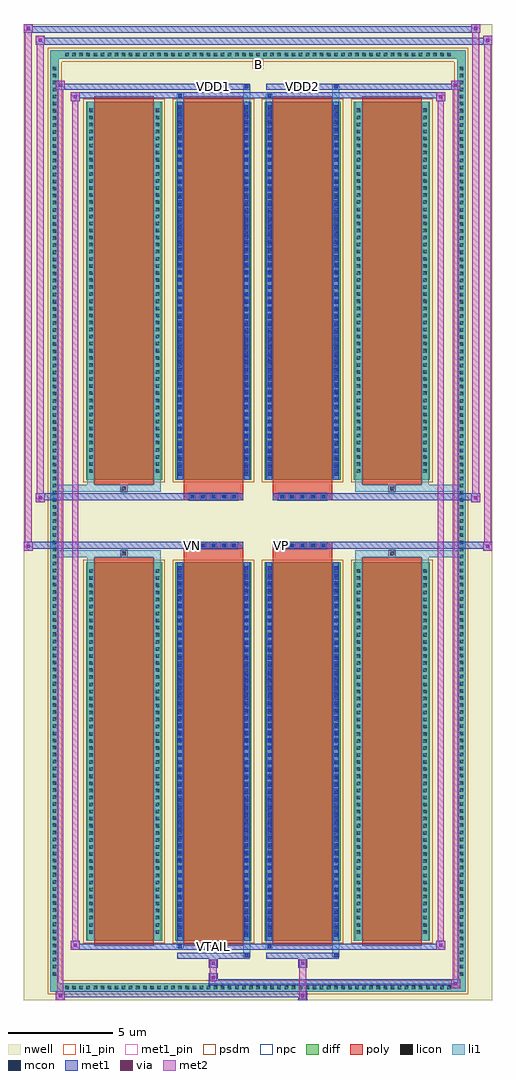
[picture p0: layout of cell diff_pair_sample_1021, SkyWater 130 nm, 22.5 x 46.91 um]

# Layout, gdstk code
import gdstk
lib = gdstk.Library(unit=1e-6, precision=5e-09)
def R(c, l, rs):  # rectangles x0, y0, x1, y1
    for r in rs: c.add(gdstk.rectangle(r[:2], r[2:], *l))
def A(c, l, x, y, w, h, nx, ny, dx, dy):  # array of equal rectangles
    R(c, l, [(x+i*dx, y+j*dy, x+i*dx+w, y+j*dy+h) for i in range(nx) for j in range(ny)])
def P(c, l, *ps):  # polygons
    for p in ps: c.add(gdstk.Polygon(p, *l))
nwell = (64, 20)
diff = (65, 20)
poly = (66, 20)
licon = (66, 44)
li1_pin = (67, 16)
li1 = (67, 20)
mcon = (67, 44)
met1_pin = (68, 16)
met1 = (68, 20)
via = (68, 44)
met2 = (69, 20)
psdm = (94, 20)
npc = (95, 20)

diff_pair_sample_1021 = lib.new_cell('diff_pair_sample_1021')
R(diff_pair_sample_1021, nwell, [(-11.25,-23.02,11.25,23.89), (-8.57,-21.21,-0.01,-0.805), (0.01,-21.21,8.57,-0.805), (-8.57,0.805,-0.01,21.21), (0.01,0.805,8.57,21.21)])
A(diff_pair_sample_1021, diff, -9.385, -22.62, 0.41, 0.41, 55, 2, 0.34, 44.83)
A(diff_pair_sample_1021, diff, -9.98, -21.965, 0.41, 0.41, 1, 129, 0, 0.34)
A(diff_pair_sample_1021, diff, 9.57, -21.965, 0.41, 0.41, 1, 129, 0, 0.34)
A(diff_pair_sample_1021, diff, -8.26, -20.165, 3.65, 18.18, 4, 2, 4.29, 22.15)
R(diff_pair_sample_1021, diff, [(-9.385,-22.62,9.385,-22.21), (-9.98,-21.965,-9.57,21.965), (9.57,-21.965,9.98,21.965), (-9.385,22.21,9.385,22.62)])
P(diff_pair_sample_1021, diff, [(9.98,22.62),(-9.98,22.62),(-9.98,-22.21),(-9.57,-22.21),(-9.57,22.21),(9.57,22.21),(9.57,-22.21),(-9.57,-22.21),(-9.98,-22.21),(-9.98,-22.62),(9.98,-22.62)])
A(diff_pair_sample_1021, poly, -7.87, -20.415, 2.87, 18.68, 4, 2, 4.29, 22.15)
A(diff_pair_sample_1021, poly, -3.31, -1.335, 0.33, 0.33, 5, 2, 0.5, 2.34)
A(diff_pair_sample_1021, poly, 0.98, -1.335, 0.33, 0.33, 5, 2, 0.5, 2.34)
R(diff_pair_sample_1021, poly, [(-6.6,-1.735,-6.27,-1.405), (-6.6,-1.735,-6.27,-1.405), (-3.58,-1.735,-0.71,-1.335), (0.71,-1.735,3.58,-1.335), (6.27,-1.735,6.6,-1.405), (6.27,-1.735,6.6,-1.405), (-3.58,-1.335,-0.71,-1.005), (0.71,-1.335,3.58,-1.005), (-3.58,1.005,-0.71,1.335), (0.71,1.005,3.58,1.335), (-3.58,1.335,-0.71,1.735), (0.71,1.335,3.58,1.735), (-6.6,1.405,-6.27,1.735), (-6.6,1.405,-6.27,1.735), (6.27,1.405,6.6,1.735), (6.27,1.405,6.6,1.735)])
A(diff_pair_sample_1021, licon, -9.265, -22.5, 0.17, 0.17, 55, 2, 0.34, 44.83)
A(diff_pair_sample_1021, licon, -9.86, -21.845, 0.17, 0.17, 1, 129, 0, 0.34)
A(diff_pair_sample_1021, licon, 9.69, -21.845, 0.17, 0.17, 1, 129, 0, 0.34)
A(diff_pair_sample_1021, licon, -8.12, -19.83, 0.17, 0.17, 1, 52, 0, 0.34)
A(diff_pair_sample_1021, licon, -4.92, -19.83, 0.17, 0.17, 1, 52, 0, 0.34)
A(diff_pair_sample_1021, licon, -3.83, -19.83, 0.17, 0.17, 1, 52, 0, 0.34)
A(diff_pair_sample_1021, licon, -0.63, -19.83, 0.17, 0.17, 1, 52, 0, 0.34)
A(diff_pair_sample_1021, licon, 0.46, -19.83, 0.17, 0.17, 1, 52, 0, 0.34)
A(diff_pair_sample_1021, licon, 3.66, -19.83, 0.17, 0.17, 1, 52, 0, 0.34)
A(diff_pair_sample_1021, licon, 4.75, -19.83, 0.17, 0.17, 1, 52, 0, 0.34)
A(diff_pair_sample_1021, licon, 7.95, -19.83, 0.17, 0.17, 1, 52, 0, 0.34)
A(diff_pair_sample_1021, licon, -3.23, -1.255, 0.17, 0.17, 5, 2, 0.5, 2.34)
A(diff_pair_sample_1021, licon, 1.06, -1.255, 0.17, 0.17, 5, 2, 0.5, 2.34)
A(diff_pair_sample_1021, licon, -8.12, 2.32, 0.17, 0.17, 1, 52, 0, 0.34)
A(diff_pair_sample_1021, licon, -4.92, 2.32, 0.17, 0.17, 1, 52, 0, 0.34)
A(diff_pair_sample_1021, licon, -3.83, 2.32, 0.17, 0.17, 1, 52, 0, 0.34)
A(diff_pair_sample_1021, licon, -0.63, 2.32, 0.17, 0.17, 1, 52, 0, 0.34)
A(diff_pair_sample_1021, licon, 0.46, 2.32, 0.17, 0.17, 1, 52, 0, 0.34)
A(diff_pair_sample_1021, licon, 3.66, 2.32, 0.17, 0.17, 1, 52, 0, 0.34)
A(diff_pair_sample_1021, licon, 4.75, 2.32, 0.17, 0.17, 1, 52, 0, 0.34)
A(diff_pair_sample_1021, licon, 7.95, 2.32, 0.17, 0.17, 1, 52, 0, 0.34)
R(diff_pair_sample_1021, licon, [(-6.52,-1.655,-6.35,-1.485), (6.35,-1.655,6.52,-1.485), (-6.52,1.485,-6.35,1.655), (6.35,1.485,6.52,1.655)])
R(diff_pair_sample_1021, li1_pin, [(-0.25,21.71,0.25,22.21)])
A(diff_pair_sample_1021, li1, -9.345, -22.58, 0.33, 0.33, 55, 2, 0.34, 44.83)
A(diff_pair_sample_1021, li1, -9.94, -21.925, 0.33, 0.33, 1, 129, 0, 0.34)
A(diff_pair_sample_1021, li1, 9.61, -21.925, 0.33, 0.33, 1, 129, 0, 0.34)
A(diff_pair_sample_1021, li1, -3.83, -19.98, 0.17, 0.17, 1, 50, 0, 0.36)
A(diff_pair_sample_1021, li1, -0.63, -19.98, 0.17, 0.17, 1, 50, 0, 0.36)
A(diff_pair_sample_1021, li1, 0.46, -19.98, 0.17, 0.17, 1, 50, 0, 0.36)
A(diff_pair_sample_1021, li1, 3.66, -19.98, 0.17, 0.17, 1, 50, 0, 0.36)
A(diff_pair_sample_1021, li1, -8.2, -19.91, 0.33, 0.33, 1, 52, 0, 0.34)
A(diff_pair_sample_1021, li1, -5, -19.91, 0.33, 0.33, 1, 52, 0, 0.34)
A(diff_pair_sample_1021, li1, -3.91, -19.91, 0.33, 0.33, 1, 52, 0, 0.34)
A(diff_pair_sample_1021, li1, -0.71, -19.91, 0.33, 0.33, 1, 52, 0, 0.34)
A(diff_pair_sample_1021, li1, 0.38, -19.91, 0.33, 0.33, 1, 52, 0, 0.34)
A(diff_pair_sample_1021, li1, 3.58, -19.91, 0.33, 0.33, 1, 52, 0, 0.34)
A(diff_pair_sample_1021, li1, 4.67, -19.91, 0.33, 0.33, 1, 52, 0, 0.34)
A(diff_pair_sample_1021, li1, 7.87, -19.91, 0.33, 0.33, 1, 52, 0, 0.34)
A(diff_pair_sample_1021, li1, -3.31, -1.335, 0.33, 0.33, 5, 2, 0.5, 2.34)
A(diff_pair_sample_1021, li1, 0.98, -1.335, 0.33, 0.33, 5, 2, 0.5, 2.34)
A(diff_pair_sample_1021, li1, -3.83, 2.17, 0.17, 0.17, 1, 50, 0, 0.36)
A(diff_pair_sample_1021, li1, -0.63, 2.17, 0.17, 0.17, 1, 50, 0, 0.36)
A(diff_pair_sample_1021, li1, 0.46, 2.17, 0.17, 0.17, 1, 50, 0, 0.36)
A(diff_pair_sample_1021, li1, 3.66, 2.17, 0.17, 0.17, 1, 50, 0, 0.36)
A(diff_pair_sample_1021, li1, -8.2, 2.24, 0.33, 0.33, 1, 52, 0, 0.34)
A(diff_pair_sample_1021, li1, -5, 2.24, 0.33, 0.33, 1, 52, 0, 0.34)
A(diff_pair_sample_1021, li1, -3.91, 2.24, 0.33, 0.33, 1, 52, 0, 0.34)
A(diff_pair_sample_1021, li1, -0.71, 2.24, 0.33, 0.33, 1, 52, 0, 0.34)
A(diff_pair_sample_1021, li1, 0.38, 2.24, 0.33, 0.33, 1, 52, 0, 0.34)
A(diff_pair_sample_1021, li1, 3.58, 2.24, 0.33, 0.33, 1, 52, 0, 0.34)
A(diff_pair_sample_1021, li1, 4.67, 2.24, 0.33, 0.33, 1, 52, 0, 0.34)
A(diff_pair_sample_1021, li1, 7.87, 2.24, 0.33, 0.33, 1, 52, 0, 0.34)
R(diff_pair_sample_1021, li1, [(-9.98,-22.62,-9.57,-22.21), (-9.98,-22.62,-9.57,-22.21), (-9.57,-22.62,9.57,-22.21), (9.57,-22.62,9.98,-22.21), (9.57,-22.62,9.98,-22.21), (-9.98,-22.21,-9.57,22.21), (9.57,-22.21,9.98,22.21), (-0.71,-20.97,-0.38,-20.165), (-0.63,-20.97,-0.46,-20.8), (3.58,-20.97,3.91,-20.165), (3.66,-20.97,3.83,-20.8), (-3.91,-20.54,-3.58,-20.165), (-3.83,-20.54,-3.66,-20.37), (0.38,-20.54,0.71,-20.165), (0.46,-20.54,0.63,-20.37), (-8.2,-20.165,-7.87,-1.985), (-5,-20.165,-4.67,-1.985), (-3.91,-20.165,-3.58,-1.985), (-0.71,-20.165,-0.38,-1.985), (0.38,-20.165,0.71,-1.985), (3.58,-20.165,3.91,-1.985), (4.67,-20.165,5,-1.985), (7.87,-20.165,8.2,-1.985), (-3.83,-19.98,-3.66,-2.17), (-0.63,-19.98,-0.46,-2.17), (0.46,-19.98,0.63,-2.17), (3.66,-19.98,3.83,-2.17), (-8.2,-1.985,-7.87,-1.405), (-5,-1.985,-4.67,-1.405), (4.67,-1.985,5,-1.405), (7.87,-1.985,8.2,-1.405), (-9.98,-1.735,-6.6,-1.405), (-8.2,-1.735,-6.6,-1.405), (-6.6,-1.735,-6.27,-1.405), (-6.27,-1.735,-4.67,-1.405), (4.67,-1.735,6.27,-1.405), (6.27,-1.735,6.6,-1.405), (6.27,-1.735,9.98,-1.405), (6.6,-1.735,8.2,-1.405), (-9.98,1.405,-6.6,1.735), (-8.2,1.405,-6.6,1.735), (-8.2,1.405,-7.87,1.985), (-6.6,1.405,-6.27,1.735), (-6.27,1.405,-4.67,1.735), (-5,1.405,-4.67,1.985), (4.67,1.405,6.27,1.735), (4.67,1.405,5,1.985), (6.27,1.405,6.6,1.735), (6.27,1.405,9.98,1.735), (6.6,1.405,8.2,1.735), (7.87,1.405,8.2,1.985), (-8.2,1.985,-7.87,20.165), (-5,1.985,-4.67,20.165), (-3.91,1.985,-3.58,20.165), (-0.71,1.985,-0.38,20.165), (0.38,1.985,0.71,20.165), (3.58,1.985,3.91,20.165), (4.67,1.985,5,20.165), (7.87,1.985,8.2,20.165), (-3.83,2.17,-3.66,19.98), (-0.63,2.17,-0.46,19.98), (0.46,2.17,0.63,19.98), (3.66,2.17,3.83,19.98), (-3.91,20.165,-3.58,20.54), (-0.71,20.165,-0.38,20.97), (0.38,20.165,0.71,20.54), (3.58,20.165,3.91,20.97), (-3.83,20.37,-3.66,20.54), (0.46,20.37,0.63,20.54), (-0.63,20.8,-0.46,20.97), (3.66,20.8,3.83,20.97), (-9.98,22.21,-9.57,22.62), (-9.98,22.21,-9.57,22.62), (-9.57,22.21,9.57,22.62), (9.57,22.21,9.98,22.62), (9.57,22.21,9.98,22.62)])
A(diff_pair_sample_1021, mcon, -3.83, -19.98, 0.17, 0.17, 1, 50, 0, 0.36)
A(diff_pair_sample_1021, mcon, -0.63, -19.98, 0.17, 0.17, 1, 50, 0, 0.36)
A(diff_pair_sample_1021, mcon, 0.46, -19.98, 0.17, 0.17, 1, 50, 0, 0.36)
A(diff_pair_sample_1021, mcon, 3.66, -19.98, 0.17, 0.17, 1, 50, 0, 0.36)
A(diff_pair_sample_1021, mcon, -3.23, -1.255, 0.17, 0.17, 5, 2, 0.5, 2.34)
A(diff_pair_sample_1021, mcon, 1.06, -1.255, 0.17, 0.17, 5, 2, 0.5, 2.34)
A(diff_pair_sample_1021, mcon, -3.83, 2.17, 0.17, 0.17, 1, 50, 0, 0.36)
A(diff_pair_sample_1021, mcon, -0.63, 2.17, 0.17, 0.17, 1, 50, 0, 0.36)
A(diff_pair_sample_1021, mcon, 0.46, 2.17, 0.17, 0.17, 1, 50, 0, 0.36)
A(diff_pair_sample_1021, mcon, 3.66, 2.17, 0.17, 0.17, 1, 50, 0, 0.36)
R(diff_pair_sample_1021, mcon, [(-0.63,-20.97,-0.46,-20.8), (3.66,-20.97,3.83,-20.8), (-3.83,-20.54,-3.66,-20.37), (0.46,-20.54,0.63,-20.37), (-3.83,20.37,-3.66,20.54), (0.46,20.37,0.63,20.54), (-0.63,20.8,-0.46,20.97), (3.66,20.8,3.83,20.97)])
R(diff_pair_sample_1021, met1_pin, [(-2.28,-20.58,-2.01,-20.31), (-3.28,-1.295,-3.01,-1.025), (1.01,-1.295,1.28,-1.025), (-2.28,20.76,-2.01,21.03), (2.01,20.76,2.28,21.03)])
A(diff_pair_sample_1021, met1, -3.89, -20.04, 0.29, 0.29, 1, 50, 0, 0.36)
A(diff_pair_sample_1021, met1, -0.69, -20.04, 0.29, 0.29, 1, 50, 0, 0.36)
A(diff_pair_sample_1021, met1, 0.4, -20.04, 0.29, 0.29, 1, 50, 0, 0.36)
A(diff_pair_sample_1021, met1, 3.6, -20.04, 0.29, 0.29, 1, 50, 0, 0.36)
A(diff_pair_sample_1021, met1, -3.29, -1.315, 0.29, 0.29, 5, 2, 0.5, 2.34)
A(diff_pair_sample_1021, met1, 1, -1.315, 0.29, 0.29, 5, 2, 0.5, 2.34)
A(diff_pair_sample_1021, met1, -3.89, 2.11, 0.29, 0.29, 1, 50, 0, 0.36)
A(diff_pair_sample_1021, met1, -0.69, 2.11, 0.29, 0.29, 1, 50, 0, 0.36)
A(diff_pair_sample_1021, met1, 0.4, 2.11, 0.29, 0.29, 1, 50, 0, 0.36)
A(diff_pair_sample_1021, met1, 3.6, 2.11, 0.29, 0.29, 1, 50, 0, 0.36)
R(diff_pair_sample_1021, met1, [(-9.71,-23.02,-9.28,-22.59), (1.93,-23.02,2.36,-22.59), (-9.71,-22.88,2.36,-22.59), (9.28,-22.45,9.71,-22.02), (-2.36,-22.31,9.71,-22.02), (-2.36,-22.17,-1.93,-21.74), (-2.36,-21.46,-1.93,-21.03), (1.93,-21.46,2.36,-21.03), (-3.89,-21.03,-0.4,-20.74), (-0.69,-21.03,-0.4,-20.74), (0.4,-21.03,3.89,-20.74), (3.6,-21.03,3.89,-20.74), (-9,-20.6,-8.57,-20.17), (-9,-20.6,-3.89,-20.31), (-3.89,-20.6,-3.6,-20.31), (-3.89,-20.6,-0.4,-20.31), (-0.4,-20.6,0.4,-20.31), (0.4,-20.6,0.69,-20.31), (0.4,-20.6,3.89,-20.31), (3.89,-20.6,9,-20.31), (8.57,-20.6,9,-20.17), (-3.89,-20.165,-3.6,-1.985), (-0.69,-20.165,-0.4,-1.985), (0.4,-20.165,0.69,-1.985), (3.6,-20.165,3.89,-1.985), (-11.25,-1.435,-10.82,-1.005), (10.82,-1.435,11.25,-1.005), (-11.25,-1.335,-0.71,-1.005), (-3.58,-1.335,-0.71,-1.005), (0.71,-1.335,3.58,-1.005), (0.71,-1.335,11.25,-1.005), (-10.68,0.905,-10.25,1.335), (10.25,0.905,10.68,1.335), (-10.68,1.005,-3.58,1.335), (-3.58,1.005,-0.71,1.335), (0.71,1.005,3.58,1.335), (3.58,1.005,10.68,1.335), (-3.89,1.985,-3.6,20.165), (-0.69,1.985,-0.4,20.165), (0.4,1.985,0.69,20.165), (3.6,1.985,3.89,20.165), (-9,20.17,-8.57,20.6), (8.57,20.17,9,20.6), (-9,20.31,-3.89,20.6), (-3.89,20.31,-3.6,20.6), (-3.89,20.31,-0.4,20.6), (-0.4,20.31,0.4,20.6), (0.4,20.31,0.69,20.6), (0.4,20.31,3.89,20.6), (3.89,20.31,9,20.6), (-9.71,20.74,-9.28,21.17), (-9.71,20.74,-3.89,21.03), (-3.89,20.74,-0.4,21.03), (-0.69,20.74,-0.4,21.03), (0.4,20.74,3.89,21.03), (3.6,20.74,3.89,21.03), (3.89,20.74,9.71,21.03), (9.28,20.74,9.71,21.17), (-10.68,22.89,-10.25,23.32), (-10.68,22.89,-8.57,23.22), (-8.57,22.89,8.57,23.22), (8.57,22.89,11.25,23.22), (10.82,22.89,11.25,23.32), (-11.25,23.46,-10.82,23.89), (-11.25,23.46,-8.57,23.79), (-8.57,23.46,8.57,23.79), (8.57,23.46,10.68,23.79), (10.25,23.46,10.68,23.89)])
R(diff_pair_sample_1021, via, [(-9.57,-22.88,-9.42,-22.73), (2.07,-22.88,2.22,-22.73), (9.42,-22.31,9.57,-22.16), (-2.22,-22.03,-2.07,-21.88), (-2.22,-21.32,-2.07,-21.17), (2.07,-21.32,2.22,-21.17), (-8.86,-20.46,-8.71,-20.31), (8.71,-20.46,8.86,-20.31), (-11.11,-1.295,-10.96,-1.145), (10.96,-1.295,11.11,-1.145), (-10.54,1.045,-10.39,1.195), (10.39,1.045,10.54,1.195), (-8.86,20.31,-8.71,20.46), (8.71,20.31,8.86,20.46), (-9.57,20.88,-9.42,21.03), (9.42,20.88,9.57,21.03), (-10.54,23.03,-10.39,23.18), (10.96,23.03,11.11,23.18), (-11.11,23.6,-10.96,23.75), (10.39,23.6,10.54,23.75)])
R(diff_pair_sample_1021, met2, [(-9.71,-23.02,-9.28,-22.59), (-9.64,-23.02,-9.35,21.17), (-9.35,-23.02,-9.28,-22.59), (-9.66,-22.97,-9.33,-22.64), (1.98,-22.97,2.31,-22.64), (1.98,-22.64,2.31,-21.41), (9.28,-22.45,9.71,-22.02), (9.35,-22.45,9.64,21.17), (9.64,-22.45,9.71,-22.02), (9.33,-22.4,9.66,-22.07), (-2.31,-22.12,-1.98,-21.79), (-2.31,-21.79,-1.98,-21.41), (-2.31,-21.41,-1.98,-21.08), (1.98,-21.41,2.31,-21.08), (-9,-20.6,-8.57,-20.17), (-8.93,-20.6,-8.64,20.6), (-8.64,-20.6,-8.57,-20.17), (8.57,-20.6,9,-20.17), (8.64,-20.6,8.93,20.6), (8.93,-20.6,9,-20.17), (-8.95,-20.55,-8.62,-20.22), (8.62,-20.55,8.95,-20.22), (-11.25,-1.435,-10.82,-1.005), (-11.2,-1.435,-10.87,23.89), (-10.87,-1.435,-10.82,-1.005), (10.82,-1.435,11.25,-1.005), (10.87,-1.435,11.2,23.32), (11.2,-1.435,11.25,-1.005), (-11.2,-1.385,-10.87,-1.055), (10.87,-1.385,11.2,-1.055), (-10.68,0.905,-10.25,1.335), (-10.63,0.905,-10.3,23.32), (-10.3,0.905,-10.25,1.335), (10.25,0.905,10.68,1.335), (10.3,0.905,10.63,23.89), (10.63,0.905,10.68,1.335), (-10.63,0.955,-10.3,1.285), (10.3,0.955,10.63,1.285), (-9,20.17,-8.57,20.6), (-8.64,20.17,-8.57,20.6), (8.57,20.17,9,20.6), (8.93,20.17,9,20.6), (-8.95,20.22,-8.62,20.55), (8.62,20.22,8.95,20.55), (-9.71,20.74,-9.28,21.17), (-9.35,20.74,-9.28,21.17), (9.28,20.74,9.71,21.17), (9.64,20.74,9.71,21.17), (-9.66,20.79,-9.33,21.12), (9.33,20.79,9.66,21.12), (-10.68,22.89,-10.25,23.32), (-10.3,22.89,-10.25,23.32), (10.82,22.89,11.25,23.32), (11.2,22.89,11.25,23.32), (-10.63,22.94,-10.3,23.27), (10.87,22.94,11.2,23.27), (-11.25,23.46,-10.82,23.89), (-10.87,23.46,-10.82,23.89), (10.25,23.46,10.68,23.89), (10.63,23.46,10.68,23.89), (-11.2,23.51,-10.87,23.84), (10.3,23.51,10.63,23.84)])
A(diff_pair_sample_1021, psdm, -8.39, -20.295, 3.91, 18.44, 4, 2, 4.29, 22.15)
P(diff_pair_sample_1021, psdm, [(10.11,22.75),(-10.11,22.75),(-10.11,-22.08),(-9.44,-22.08),(-9.44,22.08),(9.44,22.08),(9.44,-22.08),(-9.44,-22.08),(-10.11,-22.08),(-10.11,-22.75),(10.11,-22.75)])
A(diff_pair_sample_1021, npc, -3.33, -1.355, 0.37, 0.37, 5, 2, 0.5, 2.34)
A(diff_pair_sample_1021, npc, 0.96, -1.355, 0.37, 0.37, 5, 2, 0.5, 2.34)
R(diff_pair_sample_1021, npc, [(-6.62,-1.755,-6.25,-1.385), (6.25,-1.755,6.62,-1.385), (-3.33,-1.355,-2.46,-0.985), (-3.33,-1.355,-2.46,-0.985), (-2.83,-1.355,-1.96,-0.985), (-2.83,-1.355,-1.96,-0.985), (-2.33,-1.355,-1.46,-0.985), (-2.33,-1.355,-1.46,-0.985), (-1.83,-1.355,-0.96,-0.985), (-1.83,-1.355,-0.96,-0.985), (0.96,-1.355,1.83,-0.985), (0.96,-1.355,1.83,-0.985), (1.46,-1.355,2.33,-0.985), (1.46,-1.355,2.33,-0.985), (1.96,-1.355,2.83,-0.985), (1.96,-1.355,2.83,-0.985), (2.46,-1.355,3.33,-0.985), (2.46,-1.355,3.33,-0.985), (-3.33,0.985,-2.46,1.355), (-3.33,0.985,-2.46,1.355), (-2.83,0.985,-1.96,1.355), (-2.83,0.985,-1.96,1.355), (-2.33,0.985,-1.46,1.355), (-2.33,0.985,-1.46,1.355), (-1.83,0.985,-0.96,1.355), (-1.83,0.985,-0.96,1.355), (0.96,0.985,1.83,1.355), (0.96,0.985,1.83,1.355), (1.46,0.985,2.33,1.355), (1.46,0.985,2.33,1.355), (1.96,0.985,2.83,1.355), (1.96,0.985,2.83,1.355), (2.46,0.985,3.33,1.355), (2.46,0.985,3.33,1.355), (-6.62,1.385,-6.25,1.755), (6.25,1.385,6.62,1.755)])
diff_pair_sample_1021.add(gdstk.Label('VTAIL', (-2.145,-20.445), layer=68, texttype=5))
diff_pair_sample_1021.add(gdstk.Label('VN', (-3.145,-1.16), layer=68, texttype=5))
diff_pair_sample_1021.add(gdstk.Label('VP', (1.145,-1.16), layer=68, texttype=5))
diff_pair_sample_1021.add(gdstk.Label('B', (0,21.96), layer=67, texttype=5))
diff_pair_sample_1021.add(gdstk.Label('VDD2', (2.145,20.895), layer=68, texttype=5))
diff_pair_sample_1021.add(gdstk.Label('VDD1', (-2.145,20.895), layer=68, texttype=5))

lib.write_gds('diff_pair_sample_1021.gds')
